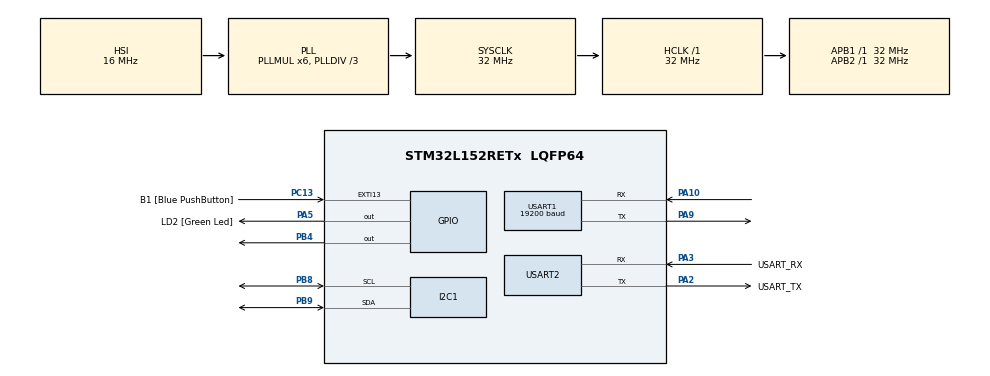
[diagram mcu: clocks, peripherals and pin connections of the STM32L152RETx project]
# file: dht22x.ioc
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Dma.Request0=USART1_RX
Dma.Request1=USART1_TX
Dma.USART1_RX.0.Direction=DMA_PERIPH_TO_MEMORY
Dma.USART1_RX.0.Instance=DMA1_Channel5
Dma.USART1_RX.0.MemDataAlignment=DMA_MDATAALIGN_BYTE
Dma.USART1_RX.0.MemInc=DMA_MINC_ENABLE
Dma.USART1_RX.0.Mode=DMA_CIRCULAR
Dma.USART1_RX.0.PeriphDataAlignment=DMA_PDATAALIGN_BYTE
Dma.USART1_RX.0.PeriphInc=DMA_PINC_DISABLE
Dma.USART1_RX.0.Priority=DMA_PRIORITY_LOW
Dma.USART1_TX.1.Direction=DMA_MEMORY_TO_PERIPH
Dma.USART1_TX.1.Instance=DMA1_Channel4
Dma.USART1_TX.1.MemDataAlignment=DMA_MDATAALIGN_BYTE
Dma.USART1_TX.1.MemInc=DMA_MINC_ENABLE
Dma.USART1_TX.1.Mode=DMA_NORMAL
Dma.USART1_TX.1.PeriphDataAlignment=DMA_PDATAALIGN_BYTE
Dma.USART1_TX.1.PeriphInc=DMA_PINC_DISABLE
Dma.USART1_TX.1.Priority=DMA_PRIORITY_LOW
Mcu.Family=STM32L1
Mcu.Name=STM32L152RETx
Mcu.Package=LQFP64
NVIC.DMA1_Channel4_IRQn=true\:0\:0\:false\:false\:true\:false\:true\:true
NVIC.DMA1_Channel5_IRQn=true\:0\:0\:false\:false\:true\:false\:true\:true
NVIC.PriorityGroup=NVIC_PRIORITYGROUP_0
PA10.Mode=Asynchronous
PA10.Signal=USART1_RX
PA13.GPIO_Label=TMS
PA13.Mode=Serial_Wire
PA13.Signal=SYS_JTMS-SWDIO
PA14.GPIO_Label=TCK
PA14.Mode=Serial_Wire
PA14.Signal=SYS_JTCK-SWCLK
PA2.GPIO_Label=USART_TX
PA2.Mode=Asynchronous
PA2.Signal=USART2_TX
PA3.GPIO_Label=USART_RX
PA3.Mode=Asynchronous
PA3.Signal=USART2_RX
PA5.GPIO_Label=LD2 [Green Led]
PA5.Signal=GPIO_Output
PA9.Mode=Asynchronous
PA9.Signal=USART1_TX
PB3.GPIO_Label=SWO
PB3.Signal=SYS_JTDO-TRACESWO
PB4.Signal=GPIO_Output
PB8.Mode=I2C
PB8.Signal=I2C1_SCL
PB9.Mode=I2C
PB9.Signal=I2C1_SDA
PC13-WKUP2.GPIO_Label=B1 [Blue PushButton]
PC13-WKUP2.Signal=GPXTI13
PC14-OSC32_IN.Mode=LSE-External-Oscillator
PC14-OSC32_IN.Signal=RCC_OSC32_IN
PC15-OSC32_OUT.Mode=LSE-External-Oscillator
PC15-OSC32_OUT.Signal=RCC_OSC32_OUT
PH0-OSC_IN.Mode=HSE-External-Clock-Source
PH0-OSC_IN.Signal=RCC_OSC_IN
PH1-OSC_OUT.Signal=RCC_OSC_OUT
ProjectManager.HeapSize=0x200
ProjectManager.StackSize=0x400
ProjectManager.TargetToolchain=STM32CubeIDE
RCC.48MHZClocksFreq_Value=48000000
RCC.AHBFreq_Value=32000000
RCC.APB1Freq_Value=32000000
RCC.APB1TimFreq_Value=32000000
RCC.APB2Freq_Value=32000000
RCC.APB2TimFreq_Value=32000000
RCC.HCLKFreq_Value=32000000
RCC.HSE_VALUE=8000000
RCC.HSI_VALUE=16000000
RCC.MSI_VALUE=2097000
RCC.PLLDIV=RCC_PLL_DIV3
RCC.PLLMUL=RCC_PLL_MUL6
RCC.RTCClockSelectionVirtual=RCC_RTCCLKSOURCE_LSE
RCC.SYSCLKFreq_VALUE=32000000
RCC.SYSCLKSource=RCC_SYSCLKSOURCE_PLLCLK
RCC.USBOutput=48000000
RCC.VCOOutputFreq_Value=96000000
USART1.BaudRate=19200
USART1.VirtualMode=VM_ASYNC
USART2.VirtualMode=VM_ASYNC
board=NUCLEO-L152RE

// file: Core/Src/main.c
/* USER CODE BEGIN Header */
/*
*/
/* USER CODE END Header */
#include "main.h"
#include "dma.h"
#include "i2c.h"
#include "usart.h"
#include "gpio.h"

/* USER CODE BEGIN Includes */
#include "lib_lcd.h"
#include <stdio.h>
 //pour creer des microsecondes
/* USER CODE END Includes */

/* USER CODE BEGIN PTD */
static rgb_lcd lcdData;
/* USER CODE END PTD */

/* USER CODE BEGIN PV */

float Temperature , Humidite ;
uint16_t size , RH = 0, TEMP = 0;
uint8_t dataH1;
uint8_t Rx1[4];

uint8_t dataH2;
uint8_t dataT1;
uint8_t dataT2;
uint8_t SUM;
uint8_t check;
char bufRH[20]; //pour stocker une valeur et l'afficher sur le LCD
char bufT[20]; //pour stocker une valeur et l'afficher sur le LCD
uint8_t Data[4];
uint8_t Data1[4];
uint16_t size1;
uint16_t size2;
int i=1;

/* USER CODE END PV */

void SystemClock_Config(void);
/* USER CODE BEGIN PFP */
uint32_t DWT_Delay_Init(void)
{
    /* Disable TRC */
    CoreDebug->DEMCR &= ~CoreDebug_DEMCR_TRCENA_Msk; // ~0x01000000;
    /* Enable TRC */
    CoreDebug->DEMCR |=  CoreDebug_DEMCR_TRCENA_Msk; // 0x01000000;

    /* Disable clock cycle counter */
    DWT->CTRL &= ~DWT_CTRL_CYCCNTENA_Msk; //~0x00000001;
    /* Enable  clock cycle counter */
    DWT->CTRL |=  DWT_CTRL_CYCCNTENA_Msk; //0x00000001;

    /* Reset the clock cycle counter value */
    DWT->CYCCNT = 0;

    /* 3 NO OPERATION instructions */
    __ASM volatile ("NOP");
    __ASM volatile ("NOP");
    __ASM volatile ("NOP");

    /* Check if clock cycle counter has started */
    if(DWT->CYCCNT)
    {
       return 0; /*clock cycle counter started*/
    }
    else
    {
      return 1; /*clock cycle counter not started*/
    }
}

// This Function Provides Delay In Microseconds Using DWT

__STATIC_INLINE void DWT_Delay_us(volatile uint32_t au32_microseconds)
{
  uint32_t au32_initial_ticks = DWT->CYCCNT;
  uint32_t au32_ticks = (HAL_RCC_GetHCLKFreq() / 1000000);
  au32_microseconds *= au32_ticks;
  while ((DWT->CYCCNT - au32_initial_ticks) < au32_microseconds-au32_ticks);
}

// This Function Provides Delay In Milliseconds Using DWT

__STATIC_INLINE void DWT_Delay_ms(volatile uint32_t au32_milliseconds)
{
  uint32_t au32_initial_ticks = DWT->CYCCNT;
  uint32_t au32_ticks = (HAL_RCC_GetHCLKFreq() / 1000);
  au32_milliseconds *= au32_ticks;
  while ((DWT->CYCCNT - au32_initial_ticks) < au32_milliseconds);
}

#define DHT22_PORT GPIOB
#define DHT22_PIN GPIO_PIN_4

/*uint8_t Rh_byte1, Rh_byte2, Temp_byte1, Temp_byte2;
uint16_t SUM, RH, TEMP;*/

void Set_Pin_Output (GPIO_TypeDef *GPIOx, uint16_t GPIO_Pin)  //Fonction qui permet de configurer une pin en sortie
{
	GPIO_InitTypeDef GPIO_InitStruct = {0};
	GPIO_InitStruct.Pin = GPIO_Pin;
	GPIO_InitStruct.Mode = GPIO_MODE_OUTPUT_PP;
	GPIO_InitStruct.Speed = GPIO_SPEED_FREQ_LOW;
	HAL_GPIO_Init(GPIOx, &GPIO_InitStruct);
}

void Set_Pin_Input (GPIO_TypeDef *GPIOx, uint16_t GPIO_Pin) //Fonction qui permet de configurer une pin en entrée
{
	GPIO_InitTypeDef GPIO_InitStruct = {0};
	GPIO_InitStruct.Pin = GPIO_Pin;
	GPIO_InitStruct.Mode = GPIO_MODE_INPUT;
	GPIO_InitStruct.Pull = GPIO_PULLUP;
	HAL_GPIO_Init(GPIOx, &GPIO_InitStruct);
}

void Read_data (uint8_t *data) // Fonction qui lis des données à partir du DHT22
  {
  	int i, k;
  	for (i=0;i<8;i++)
  	{
  		if (HAL_GPIO_ReadPin (GPIOB, GPIO_PIN_4) == GPIO_PIN_RESET)
  		{
  			(*data)&= ~(1<<(7-i)); //data bit is 0
  			while(!(HAL_GPIO_ReadPin(GPIOB, GPIO_PIN_4)));
  			DWT_Delay_us(40);
  		}
  		else                       //data bit is 1
  		{
  			(*data)|= (1<<(7-i));
  			for (k=0;k<1000;k++)
  			{
  				if (HAL_GPIO_ReadPin (GPIOB, GPIO_PIN_4) == GPIO_PIN_RESET)
  				  {
  				  	break;
  				  }
  			}
  			while(!(HAL_GPIO_ReadPin(GPIOB, GPIO_PIN_4)));
  			DWT_Delay_us(40);
  		}
  	 }
  }

/* USER CODE END PFP */

/* USER CODE BEGIN 0 */
void HAL_UART_RxCpltCallback(UART_HandleTypeDef *huart)
{ if(i==1)  {
			lcd_position(&hi2c1,11,0);
		lcd_print(&hi2c1,(char*)Rx1);
		   lcd_position(&hi2c1,15,0);
		   lcd_print(&hi2c1,"C");
		i=2;
			}
	else if(i==2) {  if (Rx1[0]==9) {
					Rx1[4]=Rx1[3];
					Rx1[3]=Rx1[2];
					Rx1[1]=Rx1[0];
					Rx1[0]=0; }
					lcd_position(&hi2c1,9,1);
					lcd_print(&hi2c1,(char*)Rx1);
					   lcd_position(&hi2c1,13,1);
					   lcd_print(&hi2c1,"hPa");
					i=1;
			}
	}
/* USER CODE END 0 */

int main(void)
{
  /* USER CODE BEGIN 1 */

  int k = 0; //variable pour les boucles while

  /* USER CODE END 1 */

  /* MCU Configuration--------------------------------------------------------*/

  /* Reset of all peripherals, Initializes the Flash interface and the Systick. */
  HAL_Init();

  /* Configure the system clock */
  SystemClock_Config();

  /* Initialize all configured peripherals */
  MX_GPIO_Init();

  MX_DMA_Init();
  MX_USART2_UART_Init();
  MX_USART1_UART_Init();

  MX_I2C1_Init();
  /* USER CODE BEGIN 2 */
  DWT_Delay_Init();
  lcd_init(&hi2c1, &lcdData); // initialise le lcd
  //Preparation d'affichage sur LCD
  lcd_position(&hi2c1,0,0);
   lcd_print(&hi2c1,"Temperature ");
    lcd_position(&hi2c1,15,0);
   lcd_print(&hi2c1,"C");
   lcd_position(&hi2c1,0,1);
   lcd_print(&hi2c1,"Pression ");
   lcd_position(&hi2c1,13,1);
   lcd_print(&hi2c1,"hPa");
   HAL_UART_Receive_DMA(&huart1, Rx1, 4);
  /* USER CODE END 2 */

  /* Infinite loop */
  while (1)
  {

    /* USER CODE BEGIN 3 */

	  	  /*commence la communication avec le capteur*/

	  	  HAL_Delay(1000);// Effectuer des mesures chaque seconde
	  	  Set_Pin_Output(GPIOB, GPIO_PIN_4); //Configuration du pin en sortie
	  	  HAL_GPIO_WritePin(GPIOB, GPIO_PIN_4, GPIO_PIN_RESET); //Mise à 0 du pin
	  	  DWT_Delay_us(1000); //Envoi de la premiere partie du signal de commande
	  	  HAL_GPIO_WritePin(GPIOB, GPIO_PIN_4, GPIO_PIN_SET); // Mise a 1 du pin
	  	  DWT_Delay_us(30); //Envoi de la deuxieme partie du signal de commande
	  	  Set_Pin_Input(GPIOB, GPIO_PIN_4); //Configuration du pin en entrée

	  	  // Lecture des données

	  	  while(!(HAL_GPIO_ReadPin(GPIOB, GPIO_PIN_4)));

	  	  for (k=0;k<1000;k++)
	  	  {
	  		  if (HAL_GPIO_ReadPin (GPIOB, GPIO_PIN_4) == GPIO_PIN_RESET)
	  		  {
	  	  	  	break;
	  	  	  }
	  	  }

	  	  while(!(HAL_GPIO_ReadPin(GPIOB, GPIO_PIN_4)));
	  	  DWT_Delay_us(40);

	  	  Read_data(&dataH1); //Lecture du premier octet d'humidité
	  	  Read_data(&dataH2); //Lecture du deuxieme octet d'humidité
	  	  Read_data(&dataT1); //Lecture du premier octet de temperature
	  	  Read_data(&dataT2); //Lecture du deuxieme octet de temperature
	  	  Read_data(&SUM);  //Lecture d'octet de sécurité

	  	  check = dataH1 + dataH2 + dataT1 + dataT2;

	  	  RH = (dataH1<<8) | dataH2;  //Concatenation des octets d'humidité
	  	  TEMP = (dataT1<<8) | dataT2; //Concatenation des octets de temperature

	  	  Humidite = (int) RH / 10.0; //Les valeurs recues sont egales à fois les valeurs reelles
	  	  Temperature = (int) TEMP / 10.0;

	  	  HAL_GPIO_WritePin(GPIOB, GPIO_PIN_4, GPIO_PIN_SET); //Preparation pour lecture suivante

	  	//Transmission des données en Xbee à travers l'UART
	  	  size=sprintf((char *)Data,"%.1f", Humidite);
		  HAL_UART_Transmit(&huart1, Data, 4,1000);

	  	  size=  sprintf((char *)Data1, "%.1f", Temperature); //
		  HAL_UART_Transmit(&huart1, Data1, 4,1000);

	    }
  /* USER CODE END 3 */
}

void SystemClock_Config(void)
{
  RCC_OscInitTypeDef RCC_OscInitStruct = {0};
  RCC_ClkInitTypeDef RCC_ClkInitStruct = {0};

  /** Configure the main internal regulator output voltage
  */
  __HAL_PWR_VOLTAGESCALING_CONFIG(PWR_REGULATOR_VOLTAGE_SCALE1);

  /** Initializes the RCC Oscillators according to the specified parameters
  * in the RCC_OscInitTypeDef structure.
  */
  RCC_OscInitStruct.OscillatorType = RCC_OSCILLATORTYPE_HSI;
  RCC_OscInitStruct.HSIState = RCC_HSI_ON;
  RCC_OscInitStruct.HSICalibrationValue = RCC_HSICALIBRATION_DEFAULT;
  RCC_OscInitStruct.PLL.PLLState = RCC_PLL_ON;
  RCC_OscInitStruct.PLL.PLLSource = RCC_PLLSOURCE_HSI;
  RCC_OscInitStruct.PLL.PLLMUL = RCC_PLL_MUL6;
  RCC_OscInitStruct.PLL.PLLDIV = RCC_PLL_DIV3;
  if (HAL_RCC_OscConfig(&RCC_OscInitStruct) != HAL_OK)
  {
    Error_Handler();
  }

  /** Initializes the CPU, AHB and APB buses clocks
  */
  RCC_ClkInitStruct.ClockType = RCC_CLOCKTYPE_HCLK|RCC_CLOCKTYPE_SYSCLK
                              |RCC_CLOCKTYPE_PCLK1|RCC_CLOCKTYPE_PCLK2;
  RCC_ClkInitStruct.SYSCLKSource = RCC_SYSCLKSOURCE_PLLCLK;
  RCC_ClkInitStruct.AHBCLKDivider = RCC_SYSCLK_DIV1;
  RCC_ClkInitStruct.APB1CLKDivider = RCC_HCLK_DIV1;
  RCC_ClkInitStruct.APB2CLKDivider = RCC_HCLK_DIV1;

  if (HAL_RCC_ClockConfig(&RCC_ClkInitStruct, FLASH_LATENCY_1) != HAL_OK)
  {
    Error_Handler();
  }
}

void Error_Handler(void)
{
  __disable_irq();
  while (1)
  {
  }
}
